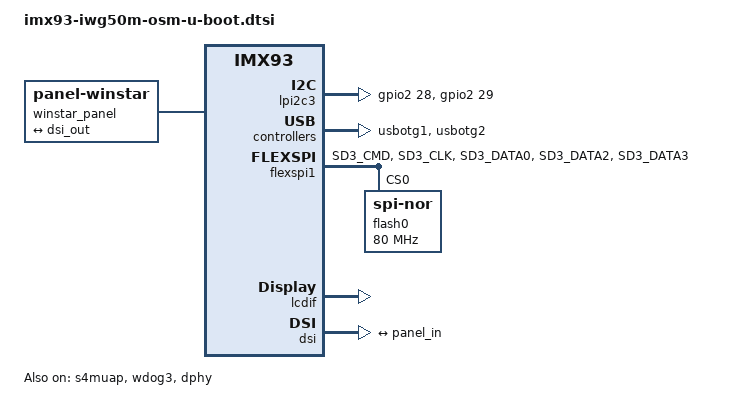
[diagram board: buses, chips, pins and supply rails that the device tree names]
// SPDX-License-Identifier: GPL-2.0+
/*
/ * Copyright 2025 iWave Global Pvt. Ltd.
 */

#include "imx93-u-boot.dtsi"

/ {
	wdt-reboot {
		compatible = "wdt-reboot";
		wdt = <&wdog3>;
		bootph-pre-ram;
		bootph-some-ram;
	};

	aliases {
		usb_gadget0 = &usbg1;
		usb_gadget1 = &usbg2;
		spi0 = &lpspi1;
		ethernet0 = &eqos;
		ethernet1 = &fec;
	};

	chosen {
		bootargs = "console=ttyLP0,115200";
	};

	usbg1: usbg1 {
		compatible = "fsl,imx27-usb-gadget";
		dr_mode = "peripheral";
		chipidea,usb = <&usbotg1>;
		status = "okay";
	};

	usbg2: usbg2 {
		compatible = "fsl,imx27-usb-gadget";
		dr_mode = "peripheral";
		chipidea,usb = <&usbotg2>;
		status = "okay";
	};

	firmware {
		optee {
			compatible = "linaro,optee-tz";
			method = "smc";
		};
	};

	dsi_host: dsi-host {
		compatible = "synopsys,dw-mipi-dsi";
		status = "okay";
	};

	winstar_panel {
		compatible = "panel-winstar";
		dsi-lanes = <4>;
		video-mode = <2>;	/* 0: burst mode
					 * 1: non-burst mode with sync event
					 * 2: non-burst mode with sync pulse
					 */
		width-mm = <154>;
		height-mm = <85>;
		status = "okay";

		port {
			panel_in: endpoint {
				remote-endpoint = <&dsi_out>;
			};
		};
	};
};

&A55_0 {
	clocks = <&clk IMX93_CLK_A55_SEL>;
};

&A55_1 {
	clocks = <&clk IMX93_CLK_A55_SEL>;
};

&{/soc@0} {
	bootph-all;
	bootph-pre-ram;
};

&aips1 {
	bootph-pre-ram;
	bootph-all;
};

&aips2 {
	bootph-pre-ram;
	bootph-some-ram;
};

&aips3 {
	bootph-pre-ram;
	bootph-some-ram;
};

&iomuxc {
	bootph-pre-ram;
	bootph-some-ram;

	pinctrl_flexspi: flexspigrp {
		fsl,pins = <
			MX93_PAD_SD3_CMD__FLEXSPI1_A_SS0_B      0x3fe
			MX93_PAD_SD3_CLK__FLEXSPI1_A_SCLK       0x3fe
			MX93_PAD_SD3_DATA0__FLEXSPI1_A_DATA00   0x3fe
/*			MX93_PAD_SD3_DATA1__FLEXSPI1_A_DATA01   0x3fe*/
			MX93_PAD_SD3_DATA2__FLEXSPI1_A_DATA02   0x3fe
			MX93_PAD_SD3_DATA3__FLEXSPI1_A_DATA03   0x3fe
		>;
	};

	pinctrl_lpi2c3_gpio: lpi2c3gpiogrp {
		fsl,pins = <
			MX93_PAD_GPIO_IO28__GPIO2_IO28			0x31e
			MX93_PAD_GPIO_IO29__GPIO2_IO29			0x31e
		>;
	};
};

&reg_usdhc2_vmmc {
	off-on-delay-us = <20000>;
	bootph-pre-ram;
};

&pinctrl_reg_usdhc2_vmmc {
	bootph-pre-ram;
};

&pinctrl_uart1 {
	bootph-pre-ram;
	bootph-some-ram;
};

&pinctrl_usdhc1 {
	bootph-pre-ram;
};

&pinctrl_usdhc2_gpio {
	bootph-pre-ram;
};

&pinctrl_usdhc2 {
	bootph-pre-ram;
};

&gpio1 {
	compatible = "fsl,imx93-gpio", "fsl,imx7ulp-gpio";
	reg = <0x47400080 0x1000>, <0x47400040 0x40>;
	bootph-pre-ram;
	bootph-some-ram;
};

&gpio2 {
	compatible = "fsl,imx93-gpio", "fsl,imx7ulp-gpio";
	reg = <0x43810080 0x1000>, <0x43810040 0x40>;
	bootph-pre-ram;
	bootph-some-ram;
};

&gpio3 {
	compatible = "fsl,imx93-gpio", "fsl,imx7ulp-gpio";
	reg = <0x43820080 0x1000>, <0x43820040 0x40>;
	bootph-pre-ram;
	bootph-some-ram;
};

&gpio4 {
	compatible = "fsl,imx93-gpio", "fsl,imx7ulp-gpio";
	reg = <0x43830080 0x1000>, <0x43830040 0x40>;
	bootph-pre-ram;
	bootph-some-ram;
};

&lpuart1 {
	bootph-pre-ram;
	bootph-some-ram;
};

&usdhc1 {
	bootph-pre-ram;
};

&usdhc2 {
	bootph-pre-ram;
	fsl,signal-voltage-switch-extra-delay-ms = <8>;
};

&lpi2c1 {
	bootph-pre-ram;
};

&lpi2c2 {
	bootph-pre-ram;
};

&lpi2c3 {
	bootph-pre-ram;
	pinctrl-names = "default", "gpio";
	pinctrl-0 = <&pinctrl_lpi2c3>;
	pinctrl-1 = <&pinctrl_lpi2c3_gpio>;
	gpios = <&gpio2 28 GPIO_ACTIVE_LOW>,
		<&gpio2 29 GPIO_ACTIVE_LOW>;
};

&{/soc@0/bus@44000000/i2c@44350000/pmic@25} {
	bootph-pre-ram;
};

&{/soc@0/bus@44000000/i2c@44350000/pmic@25/regulators} {
	bootph-pre-ram;
};

&pinctrl_lpi2c1 {
	bootph-pre-ram;
};

&pinctrl_lpi2c2 {
	bootph-pre-ram;
};

&pinctrl_lpi2c3 {
	bootph-pre-ram;
};

&usbotg1 {
	status = "okay";
};

&usbotg2 {
	status = "okay";
};

&lpspi1 {
	bootph-all;
	bootph-pre-ram;
        assigned-clock-rates = <40000000>;
        assigned-clocks = <&clk IMX93_CLK_LPSPI1>;

};

&s4muap {
	bootph-pre-ram;
	bootph-some-ram;
	status = "okay";
};

&clk {
	bootph-all;
	bootph-pre-ram;
	/delete-property/ assigned-clocks;
	/delete-property/ assigned-clock-rates;
	/delete-property/ assigned-clock-parents;
};

&osc_32k {
	bootph-all;
	bootph-pre-ram;
};

&osc_24m {
	bootph-all;
	bootph-pre-ram;
};

&clk_ext1 {
	bootph-all;
	bootph-pre-ram;
};

&flexspi1 {
	pinctrl-names = "default";
	pinctrl-0 = <&pinctrl_flexspi>;
	assigned-clock-rates = <80000000>;
	status = "okay";

	flash0: flash@0 {
		reg = <0>;
		#address-cells = <1>;
		#size-cells = <1>;
		compatible = "jedec,spi-nor";
		spi-max-frequency = <80000000>;
		spi-tx-bus-width = <4>;
		spi-rx-bus-width = <4>;
	};
};

&wdog3 {
	status = "okay";
};

&lcdif {
	assigned-clocks = <&clk IMX93_CLK_MEDIA_AXI>, <&clk IMX93_CLK_MEDIA_APB>;
	assigned-clock-parents = <&clk IMX93_CLK_SYS_PLL_PFD1>, <&clk IMX93_CLK_SYS_PLL_PFD1_DIV2>;
	assigned-clock-rates = <204800000>, <51200000>, <400000000>, <133333333>;
	status = "okay";
};

&dphy {
	status = "okay";
};

&dsi {
	status = "okay";

	ports {
		port@1 {
			dsi_out: endpoint {
				remote-endpoint = <&panel_in>;
			};
		};
	};
};
